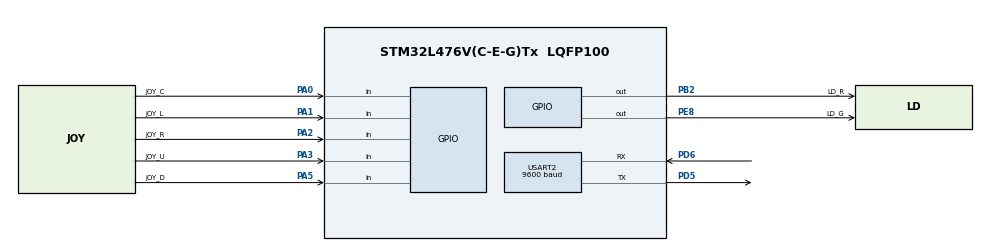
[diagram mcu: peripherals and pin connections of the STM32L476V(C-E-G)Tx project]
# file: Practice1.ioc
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Mcu.Family=STM32L4
Mcu.Name=STM32L476V(C-E-G)Tx
Mcu.Package=LQFP100
NVIC.PriorityGroup=NVIC_PRIORITYGROUP_4
PA0.GPIO_Label=JOY_C
PA0.GPIO_PuPd=GPIO_PULLDOWN
PA0.Signal=GPIO_Input
PA1.GPIO_Label=JOY_L
PA1.GPIO_PuPd=GPIO_PULLDOWN
PA1.Signal=GPIO_Input
PA2.GPIO_Label=JOY_R
PA2.GPIO_PuPd=GPIO_PULLDOWN
PA2.Signal=GPIO_Input
PA3.GPIO_Label=JOY_U
PA3.GPIO_PuPd=GPIO_PULLDOWN
PA3.Signal=GPIO_Input
PA5.GPIO_Label=JOY_D
PA5.GPIO_PuPd=GPIO_PULLDOWN
PA5.Signal=GPIO_Input
PB2.GPIO_Label=LD_R
PB2.PinState=GPIO_PIN_RESET
PB2.Signal=GPIO_Output
PD5.Mode=Asynchronous
PD5.Signal=USART2_TX
PD6.Mode=Asynchronous
PD6.Signal=USART2_RX
PE8.GPIO_Label=LD_G
PE8.PinState=GPIO_PIN_RESET
PE8.Signal=GPIO_Output
ProjectManager.HeapSize=0x200
ProjectManager.StackSize=0x400
ProjectManager.TargetToolchain=MDK-ARM V5
RCC.HSE_VALUE=8000000
RCC.HSI_VALUE=16000000
RCC.LSE_VALUE=32768
RCC.MSI_VALUE=4000000
RCC.VCOOutputFreq_Value=32000000
USART2.BaudRate=9600
USART2.VirtualMode-Asynchronous=VM_ASYNC
USART2.WordLength=WORDLENGTH_8B
board=lab03_joystick_and_leds_with_cimsis_and_usart_with_hal

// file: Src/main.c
/* USER CODE BEGIN Header */
/**
  ******************************************************************************
  * @file           : main.c
  * @brief          : Main program body
  ******************************************************************************
  ** This notice applies to any and all portions of this file
  * that are not between comment pairs USER CODE BEGIN and
  * USER CODE END. Other portions of this file, whether
  * inserted by the user or by software development tools
  * are owned by their respective copyright owners.
  *
  * COPYRIGHT(c) 2019 STMicroelectronics
  *
  * Redistribution and use in source and binary forms, with or without modification,
  * are permitted provided that the following conditions are met:
  *   1. Redistributions of source code must retain the above copyright notice,
  *      this list of conditions and the following disclaimer.
  *   2. Redistributions in binary form must reproduce the above copyright notice,
  *      this list of conditions and the following disclaimer in the documentation
  *      and/or other materials provided with the distribution.
  *   3. Neither the name of STMicroelectronics nor the names of its contributors
  *      may be used to endorse or promote products derived from this software
  *      without specific prior written permission.
  *
  * THIS SOFTWARE IS PROVIDED BY THE COPYRIGHT HOLDERS AND CONTRIBUTORS "AS IS"
  * AND ANY EXPRESS OR IMPLIED WARRANTIES, INCLUDING, BUT NOT LIMITED TO, THE
  * IMPLIED WARRANTIES OF MERCHANTABILITY AND FITNESS FOR A PARTICULAR PURPOSE ARE
  * DISCLAIMED. IN NO EVENT SHALL THE COPYRIGHT HOLDER OR CONTRIBUTORS BE LIABLE
  * FOR ANY DIRECT, INDIRECT, INCIDENTAL, SPECIAL, EXEMPLARY, OR CONSEQUENTIAL
  * DAMAGES (INCLUDING, BUT NOT LIMITED TO, PROCUREMENT OF SUBSTITUTE GOODS OR
  * SERVICES; LOSS OF USE, DATA, OR PROFITS; OR BUSINESS INTERRUPTION) HOWEVER
  * CAUSED AND ON ANY THEORY OF LIABILITY, WHETHER IN CONTRACT, STRICT LIABILITY,
  * OR TORT (INCLUDING NEGLIGENCE OR OTHERWISE) ARISING IN ANY WAY OUT OF THE USE
  * OF THIS SOFTWARE, EVEN IF ADVISED OF THE POSSIBILITY OF SUCH DAMAGE.
  *
  ******************************************************************************
  */
/* USER CODE END Header */

#include "main.h"
#include <stdint.h>
#include <stdbool.h>

UART_HandleTypeDef huart2;

void SystemClock_Config(void);
static void MX_GPIO_Init(void);
static void MX_USART2_UART_Init(void);
/* USER CODE BEGIN PFP */
#ifdef __GNUC__
/* With GCC, small printf (option LD Linker->Libraries->Small printf
   set to 'Yes') calls __io_putchar() */
#define PUTCHAR_PROTOTYPE int __io_putchar(int ch)
#else
#define PUTCHAR_PROTOTYPE int fputc(int ch, FILE *f)
#endif /* __GNUC__ */
/* USER CODE END PFP */

int main(void)
{

  /* MCU Configuration--------------------------------------------------------*/

  /* Reset of all peripherals, Initializes the Flash interface and the Systick. */
  HAL_Init();

  /* Configure the system clock */
  SystemClock_Config();

  /* Initialize all configured peripherals */
  MX_GPIO_Init();
  MX_USART2_UART_Init();
  /* USER CODE BEGIN 2 */
	extern uint32_t read_port(__IO uint32_t *pIDR, uint32_t pinMask);
	extern void set_port(__IO uint32_t *pODR, uint32_t pinMask);
	extern void clear_port(__IO uint32_t *pODR, uint32_t pinMask);

	#define LD_R_ON   set_port(&(GPIOB -> ODR), LD_R_Pin)// Add the appropriate function here
	#define LD_G_ON   set_port(&(GPIOE -> ODR), LD_G_Pin)// Add the appropriate function here
	#define LD_R_OFF  clear_port(&(GPIOB -> ODR), LD_R_Pin)// Add the appropriate function here
	#define LD_G_OFF  clear_port(&(GPIOE -> ODR), LD_G_Pin)// Add the appropriate function here

	#define JOY_C  read_port(&(GPIOA -> IDR), JOY_C_Pin)// Add the appropriate function here
	#define JOY_U	 read_port(&(GPIOA -> IDR), JOY_U_Pin)
	#define JOY_D	 read_port(&(GPIOA -> IDR), JOY_D_Pin)
	#define JOY_L  read_port(&(GPIOA -> IDR), JOY_L_Pin)// Add the appropriate function here
	#define JOY_R  read_port(&(GPIOA -> IDR), JOY_R_Pin)// Add the appropriate function here
  /* USER CODE END 2 */

  /* Infinite loop */
  /* USER CODE BEGIN WHILE */
	char operations[4] = {'+', '-', '*', '/'};
	int leftNum = 0;
	int rightNum = 0;
	bool change = true;
	int currentLoc = 0;
	int currentOp = 0;
	int result = 0;
  printf("Press Left or Right to cycle selected target, Up or Down to cycle through and Center to solve\n\r");
	while (1)
  {
    /* USER CODE END WHILE */
    /* USER CODE BEGIN 3 */
		if (change) {
			printf("Current Equation: %d %c %d\n\r", leftNum, operations[currentOp], rightNum);
			change = false;
		}

		if (JOY_L) {
			if (currentLoc != 0) {
				currentLoc--;
			}

			switch(currentLoc) {
				case 0:
					printf("Currently Editing Left Hand Number: %d\n\r", leftNum);
					break;
				case 1:
					printf("Currently Editing Operation: %c\n\r", operations[currentOp]);
					break;
				case 2:
					break;
			}
			HAL_Delay(300);
		}

		if (JOY_R) {
			if (currentLoc != 2) {
				currentLoc++;
			}

			switch(currentLoc) {
				case 0:
					break;
				case 1:
					printf("Currently Editing Operation: %c\n\r", operations[currentOp]);
					break;
				case 2:
					printf("Currently Editing Right Hand Number: %d\n\r", rightNum);
					break;
			}
			HAL_Delay(300);
		}

		if (JOY_U) {
			if (currentLoc == 1) {
				if (currentOp != 3) {
					currentOp++;
				}
			} else if (currentLoc == 0) {
				leftNum++;
			} else if (currentLoc == 2) {
				rightNum++;
			}

			change = true;

			HAL_Delay(300);
		}

		if (JOY_D) {
			if (currentLoc == 1) {
				if (currentOp != 0) {
					currentOp--;
				}
			} else if (currentLoc == 0) {
				leftNum--;
			} else if (currentLoc == 2) {
				rightNum--;
			}

			change = true;

			HAL_Delay(300);
		}

		if (JOY_C) {
			switch(currentOp){
				case 0:
					result = leftNum + rightNum;
					break;
				case 1:
					result = leftNum - rightNum;
					break;
				case 2:
					result = leftNum * rightNum;
					break;
				case 3:
					result = leftNum / rightNum;
					break;
			}
			printf("Result of %d %c %d = %d\n\r", leftNum, operations[currentOp], rightNum, result);
			HAL_Delay(300);
		}

  }
  /* USER CODE END 3 */
}

void SystemClock_Config(void)
{
  RCC_OscInitTypeDef RCC_OscInitStruct = {0};
  RCC_ClkInitTypeDef RCC_ClkInitStruct = {0};
  RCC_PeriphCLKInitTypeDef PeriphClkInit = {0};

  /**Initializes the CPU, AHB and APB busses clocks
  */
  RCC_OscInitStruct.OscillatorType = RCC_OSCILLATORTYPE_MSI;
  RCC_OscInitStruct.MSIState = RCC_MSI_ON;
  RCC_OscInitStruct.MSICalibrationValue = 0;
  RCC_OscInitStruct.MSIClockRange = RCC_MSIRANGE_6;
  RCC_OscInitStruct.PLL.PLLState = RCC_PLL_NONE;
  if (HAL_RCC_OscConfig(&RCC_OscInitStruct) != HAL_OK)
  {
    Error_Handler();
  }
  /**Initializes the CPU, AHB and APB busses clocks
  */
  RCC_ClkInitStruct.ClockType = RCC_CLOCKTYPE_HCLK|RCC_CLOCKTYPE_SYSCLK
                              |RCC_CLOCKTYPE_PCLK1|RCC_CLOCKTYPE_PCLK2;
  RCC_ClkInitStruct.SYSCLKSource = RCC_SYSCLKSOURCE_MSI;
  RCC_ClkInitStruct.AHBCLKDivider = RCC_SYSCLK_DIV1;
  RCC_ClkInitStruct.APB1CLKDivider = RCC_HCLK_DIV1;
  RCC_ClkInitStruct.APB2CLKDivider = RCC_HCLK_DIV1;

  if (HAL_RCC_ClockConfig(&RCC_ClkInitStruct, FLASH_LATENCY_0) != HAL_OK)
  {
    Error_Handler();
  }
  PeriphClkInit.PeriphClockSelection = RCC_PERIPHCLK_USART2;
  PeriphClkInit.Usart2ClockSelection = RCC_USART2CLKSOURCE_PCLK1;
  if (HAL_RCCEx_PeriphCLKConfig(&PeriphClkInit) != HAL_OK)
  {
    Error_Handler();
  }
  /**Configure the main internal regulator output voltage
  */
  if (HAL_PWREx_ControlVoltageScaling(PWR_REGULATOR_VOLTAGE_SCALE1) != HAL_OK)
  {
    Error_Handler();
  }
}

static void MX_USART2_UART_Init(void)
{

  huart2.Instance = USART2;
  huart2.Init.BaudRate = 9600;
  huart2.Init.WordLength = UART_WORDLENGTH_8B;
  huart2.Init.StopBits = UART_STOPBITS_1;
  huart2.Init.Parity = UART_PARITY_NONE;
  huart2.Init.Mode = UART_MODE_TX_RX;
  huart2.Init.HwFlowCtl = UART_HWCONTROL_NONE;
  huart2.Init.OverSampling = UART_OVERSAMPLING_16;
  huart2.Init.OneBitSampling = UART_ONE_BIT_SAMPLE_DISABLE;
  huart2.AdvancedInit.AdvFeatureInit = UART_ADVFEATURE_NO_INIT;
  if (HAL_UART_Init(&huart2) != HAL_OK)
  {
    Error_Handler();
  }

}

static void MX_GPIO_Init(void)
{
  GPIO_InitTypeDef GPIO_InitStruct = {0};

  /* GPIO Ports Clock Enable */
  __HAL_RCC_GPIOA_CLK_ENABLE();
  __HAL_RCC_GPIOB_CLK_ENABLE();
  __HAL_RCC_GPIOE_CLK_ENABLE();
  __HAL_RCC_GPIOD_CLK_ENABLE();

  /*Configure GPIO pin Output Level */
  HAL_GPIO_WritePin(LD_R_GPIO_Port, LD_R_Pin, GPIO_PIN_RESET);

  /*Configure GPIO pin Output Level */
  HAL_GPIO_WritePin(LD_G_GPIO_Port, LD_G_Pin, GPIO_PIN_RESET);

  /*Configure GPIO pins : JOY_C_Pin JOY_L_Pin JOY_R_Pin JOY_U_Pin
                           JOY_D_Pin */
  GPIO_InitStruct.Pin = JOY_C_Pin|JOY_L_Pin|JOY_R_Pin|JOY_U_Pin
                          |JOY_D_Pin;
  GPIO_InitStruct.Mode = GPIO_MODE_INPUT;
  GPIO_InitStruct.Pull = GPIO_PULLDOWN;
  HAL_GPIO_Init(GPIOA, &GPIO_InitStruct);

  /*Configure GPIO pin : LD_R_Pin */
  GPIO_InitStruct.Pin = LD_R_Pin;
  GPIO_InitStruct.Mode = GPIO_MODE_OUTPUT_PP;
  GPIO_InitStruct.Pull = GPIO_NOPULL;
  GPIO_InitStruct.Speed = GPIO_SPEED_FREQ_LOW;
  HAL_GPIO_Init(LD_R_GPIO_Port, &GPIO_InitStruct);

  /*Configure GPIO pin : LD_G_Pin */
  GPIO_InitStruct.Pin = LD_G_Pin;
  GPIO_InitStruct.Mode = GPIO_MODE_OUTPUT_PP;
  GPIO_InitStruct.Pull = GPIO_NOPULL;
  GPIO_InitStruct.Speed = GPIO_SPEED_FREQ_LOW;
  HAL_GPIO_Init(LD_G_GPIO_Port, &GPIO_InitStruct);

}

/* USER CODE BEGIN 4 */
PUTCHAR_PROTOTYPE {
	HAL_UART_Transmit(&huart2, (uint8_t *)&ch, 1, 0xFFFF);
	return ch;
}
/* USER CODE END 4 */

void Error_Handler(void)
{
}

/************************ (C) COPYRIGHT STMicroelectronics *****END OF FILE****/
